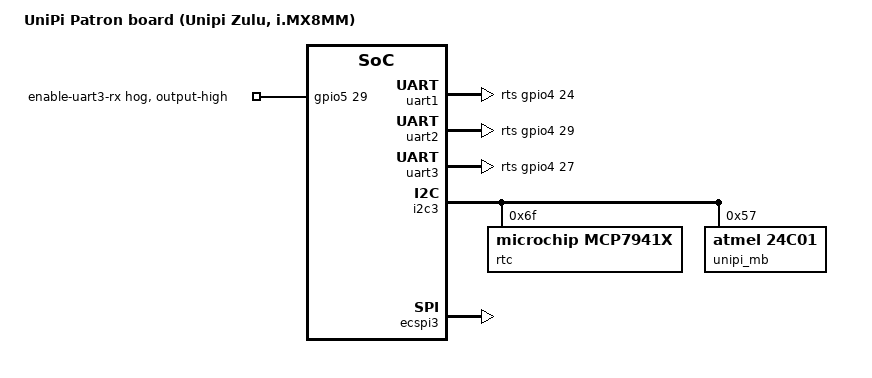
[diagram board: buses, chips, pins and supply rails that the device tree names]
// SPDX-License-Identifier: (GPL-2.0+ OR MIT)
/*
 * Copyright 2023 Unipi Technology
 * Copyright 2020 Faster CZ
 * Copyright 2019 NXP
 */

/dts-v1/;

#include <dt-bindings/usb/pd.h>
#include "unipi-zulu.dtsi"

/ {
	model = "UniPi Patron board (Unipi Zulu, i.MX8MM)";
	/*model = "UniPi Zulu board (i.MX8MN)"; */

	unipi_id: unipi-id {
        compatible = "unipi,unipi-id";
        nvmem = <&unipi_mb>;
        nvmem-names = "plcid0";
        id-channel = <&i2c3>;
    };
};

&uart1 {
	pinctrl-names = "default";
	pinctrl-0 = <&pinctrl_uart1>, <&pinctrl_uart1_ctrl>;
	status = "okay";
	rts-gpios = <&gpio4 24 GPIO_ACTIVE_HIGH>;
	// size and count of dma buffer for rx - default is <1024 16>
	fsl,dma-info = <16 32>;
};

&uart2 {
	pinctrl-names = "default";
	pinctrl-0 = <&pinctrl_uart2>, <&pinctrl_uart2_ctrl>;
	status = "okay";
	rts-gpios = <&gpio4 29 GPIO_ACTIVE_HIGH>;
	// size and count of dma buffer for rx - default is <1024 16>
	fsl,dma-info = <16 32>;
	//linux,rs485-enabled-at-boot-time;
};

&uart3 { /* console */
	pinctrl-names = "default";
	pinctrl-0 = <&pinctrl_uart3>, <&pinctrl_uart3_ctrl>;
	status = "okay";
	// size and count of dma buffer for rx - default is <1024 16>
	fsl,dma-info = <16 32>;
	rts-gpios = <&gpio4 27 GPIO_ACTIVE_HIGH>;
};

&i2c3 {
	status = "okay";

    rtc@6f {
            compatible = "microchip,mcp7941x";
            reg = <0x6f>;
			/*
              interrupt-parent = <&gpio2>;
			  interrupts = <20 IRQ_TYPE_LEVEL_LOW>;
			  pinctrl-names = "default";
			  pinctrl-0 = <&rtc_int>;
            */
    };

    w1master:w1master@18 {
             compatible = "ds2482";
             reg = <0x18>;
             status = "disabled";
    };

    unipi_mb:24c01@57 {
        compatible = "atmel,24c01";
        reg = <0x57>;
        status = "okay";
    };
};

&ecspi2 {
	fsl,spi-num-chipselects = <0>;
	pinctrl-names = "default";
	pinctrl-0 = <&pinctrl_ecspi2>, <&pinctrl_ecspi2_cs>;
	cs-gpios = <&gpio5 13 1>;
	status = "disabled";
};

&ecspi3 {
        fsl,spi-num-chipselects = <0>;
        pinctrl-names = "default";
	pinctrl-0 = <&pinctrl_ecspi3>, <&pinctrl_ecspi3_cs>;
        cs-gpios = <&gpio5 25 1>, <&gpio4 25 1>, <&gpio4 26 1>;
        status = "okay";
        /* --- BOARDSET OVERLAYS SHOULD BE PLACED HERE --- */
};

&gpio5 {
	enable_uart3_rx: enable_uart3_rx {
		pinctrl-names = "default";
		pinctrl-0 = <&pinctrl_uart3_enable>;
        gpio-hog;
        gpios = <29 GPIO_ACTIVE_HIGH>;
        output-high;
        line-name = "enable-uart3-rx";
    };
};


&iomuxc {

	pinctrl_ecspi2_cs: ecspi2cs {
		fsl,pins = <
			MX8MM_IOMUXC_ECSPI2_SS0_GPIO5_IO13          0x04
		>;
	};

	pinctrl_ecspi3_cs: ecspi3cs {
		fsl,pins = <
			MX8MM_IOMUXC_UART2_TXD_GPIO5_IO25			0x16
			MX8MM_IOMUXC_SAI2_TXC_GPIO4_IO25			0x16
			MX8MM_IOMUXC_SAI2_TXD0_GPIO4_IO26			0x16
		>;
	};

	pinctrl_uart3_enable: uart3enagrp {
		fsl,pins = < /* enable */
			MX8MM_IOMUXC_UART4_TXD_GPIO5_IO29		0x040
		>;
	};

        pinctrl_slotirq1: slotirq1 {
                fsl,pins = <MX8MM_IOMUXC_I2C4_SCL_GPIO5_IO20    0x19>;
        };
        pinctrl_slotirq2: slotirq2 {
                fsl,pins = <MX8MM_IOMUXC_SAI3_RXD_GPIO4_IO30    0x19>;
        };
        pinctrl_slotirq0: slotirq0 {
                fsl,pins = <MX8MM_IOMUXC_SAI2_RXD0_GPIO4_IO23   0x19>;
        };

};

&snvs_rtc {
	status = "disabled";
};
